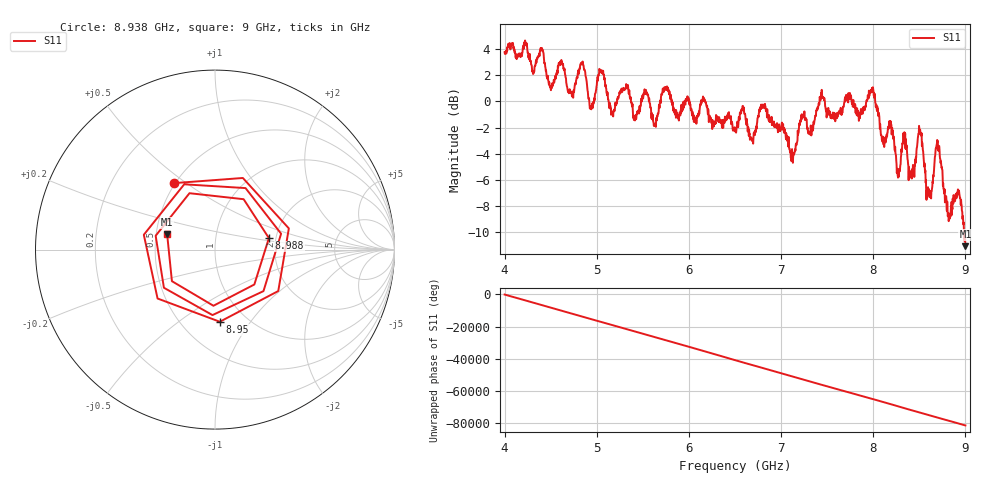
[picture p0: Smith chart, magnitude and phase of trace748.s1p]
! Created with skrf 1.8.0 (http://scikit-rf.org).
# Hz S RI R 50.0
!freq ReS11 ImS11
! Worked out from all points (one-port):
!   1601 points, 4 GHz to 9 GHz, reference 50 ohm
!   lowest |S11| = -11.1 dB at 9 GHz (marker M1), VSWR 1.78, Z = 28.6 + j5.32 ohm
!   |S11| at or under -10 dB: 8.985667 GHz to end of sweep
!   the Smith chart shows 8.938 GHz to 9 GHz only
!   S11 on the Smith chart (normalised r, x): 8.938 GHz: 0.49, +0.45; 8.95 GHz: 0.76, -0.73; 8.988 GHz: 1.83, +0.26; 9 GHz: 0.57, +0.11
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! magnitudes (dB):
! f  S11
! 4 GHz  3.7
! 4.4 GHz  4.1
! 4.503 GHz  0.8
! 4.625 GHz  2.9
! 4.722 GHz  0.7
! 4.847 GHz  3.0
! 4.944 GHz  -0.4
! 5.044 GHz  2.2
! 5.159 GHz  -0.8
! 5.25 GHz  0.6
! 5.875 GHz  -1.1
! 6.5 GHz  -2.1
! 6.809 GHz  -0.3
! 7.125 GHz  -4.4
! 7.444 GHz  0.6
! 7.75 GHz  0.2
! 7.991 GHz  0.8
! 8.272 GHz  -5.2
! 8.331 GHz  -2.7
! 8.375 GHz  -4.5
! 8.509 GHz  -2.2
! 8.6 GHz  -7.0
! 8.697 GHz  -3.1
! 8.812 GHz  -8.6
! 8.938 GHz  -7.2
! 8.95 GHz  -7.9
! 8.988 GHz  -10.3
! 9 GHz  -11.1
